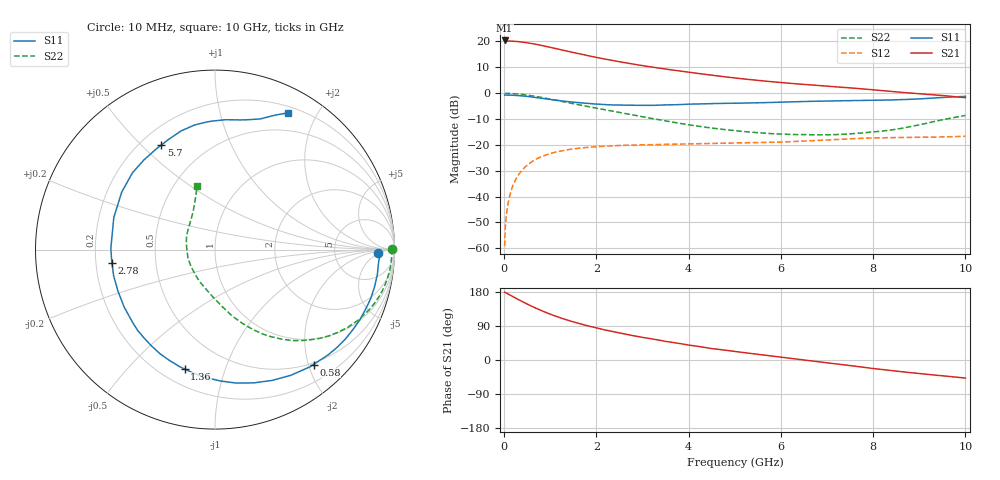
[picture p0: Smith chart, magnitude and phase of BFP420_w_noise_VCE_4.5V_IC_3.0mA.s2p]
! Infineon Technologies  Discrete & RF Semiconductors
! BFP420
! VCE =  4.5 V,  IC =  3.0 mA
! Common Emitter S-Parameters:  Jan 2016
# GHz  S  MA  R  50
!  f  S11  S21  S12  S22
! GHz  MAG  ANG  MAG  ANG  MAG  ANG  MAG  ANG
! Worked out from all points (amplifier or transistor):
!   233 points, 10 MHz to 10 GHz, reference 50 ohm
!   highest |S21| = 20.3 dB at 10 MHz (marker M1)
!   |S21| within 3 dB of that: start of sweep to 1.086 GHz
!   unconditionally stable (mu >= 1): start of sweep to 11.21 MHz; 3.542 GHz to end of sweep
!   at 200 MHz: K = 0.11, MSG = 27.7 dB, |S12| = -35.3 dB
!   at 1.74 GHz: K = 0.44, MSG = 17.9 dB, |S12| = -21.1 dB
!   at 10 GHz: K = 1.17, MAG = 5.0 dB, |S12| = -16.7 dB
!   lowest NFmin = 0.57 dB at 900 MHz
!   S11 on the Smith chart (normalised r, x): 10 MHz: 20, -5; 580 MHz: 0.47, -2.09; 1.36 GHz: 0.29, -0.73; 2.78 GHz: 0.27, -0.06; 5.7 GHz: 0.28, +0.57; 10 GHz: 0.27, +1.63
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0.01  0.9107 -1.2  10.39 179.1  0.0011 18.6  0.9849 0.2
0.02  0.92 -1.7  10.09 178.6  0.0021 54.5  0.9851 -0.9
0.05  0.9142 -4.3  10.1 176.4  0.0046 73.2  0.9854 -2.2
0.145  0.9129 -12.7  10.11 170.2  0.0125 77.3  0.9804 -6.8
0.3  0.8964 -26.1  9.878 160.1  0.0254 73.2  0.9597 -13.9
0.4  0.8806 -34.6  9.652 153.8  0.0332 69.2  0.9394 -18.3
0.58  0.8433 -49.4  9.119 142.8  0.0458 62.1  0.8925 -25.7
0.7  0.8178 -58.9  8.735 136.0  0.0532 57.6  0.8575 -30.3
0.9  0.7733 -73.8  8.005 125.6  0.0635 50.8  0.7956 -37.2
1.1  0.7329 -87.6  7.306 116.4  0.0718 45.0  0.7345 -43.1
1.36  0.6866 -104.3  6.472 105.7  0.0799 38.3  0.6596 -50.0
1.68  0.6445 -122.5  5.61 94.4  0.0871 31.8  0.5789 -57.1
1.92  0.6207 -134.7  5.054 86.9  0.091 27.7  0.5263 -61.7
2.2  0.5986 -147.9  4.514 78.9  0.0945 23.7  0.4723 -66.4
2.78  0.5794 -172.6  3.645 64.6  0.0989 17.0  0.3773 -75.9
3.4  0.5852 165.7  2.996 51.5  0.1016 11.9  0.2996 -85.9
4.4  0.6227 139.3  2.273 32.2  0.1056 6.3  0.2165 -106.8
5.1  0.6388 126.8  1.913 20.9  0.1084 3.6  0.1841 -123.3
5.7  0.6549 117.2  1.688 12.0  0.1112 1.8  0.1664 -139.1
6.8  0.696 102.0  1.401 -4.3  0.1214 -1.5  0.1557 -171.1
8.4  0.7359 79.0  1.074 -28.0  0.1376 -11.9  0.1939 138.4
10  0.863 62.0  0.813 -47.8  0.1459 -19.6  0.3689 105.6
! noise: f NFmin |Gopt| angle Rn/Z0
0.9  0.57  0.35  33  0.18
1.8  1.02  0.2  79  0.14
2.4  1.1  0.23  104  0.14
3  1.25  0.24  144  0.11
4  1.46  0.33  -159  0.1
5  1.9  0.39  -128  0.22
6  2.46  0.48  -107  0.35
